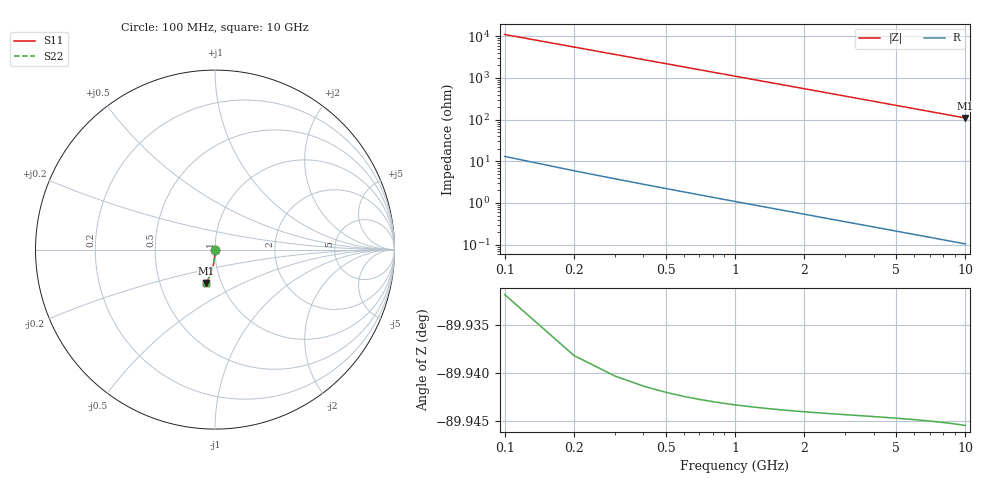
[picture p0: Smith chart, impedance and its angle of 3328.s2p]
# Hz S RI R 50.00
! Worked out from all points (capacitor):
!   100 points, 100 MHz to 10 GHz, reference 50 ohm
!   read as one part in shunt: C = 144 fF near 100 MHz
!   lowest |Z| = 110 ohm at 10 GHz (marker M1)
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1e8  9.01e-05 -0.00196  0.9999 -0.00257  0.9999 -0.00257  9.01e-05 -0.00196
2e8  7.35e-05 -0.00391  0.9999 -0.00514  0.9999 -0.00514  7.35e-05 -0.00391
3e8  4.67e-05 -0.00587  0.9998 -0.00771  0.9998 -0.00771  4.67e-05 -0.00587
4e8  9.67e-06 -0.00783  0.9998 -0.0103  0.9998 -0.0103  9.67e-06 -0.00783
5e8  -3.74e-05 -0.00978  0.9998 -0.0129  0.9998 -0.0129  -3.74e-05 -0.00978
6e8  -9.46e-05 -0.0117  0.9997 -0.0154  0.9997 -0.0154  -9.46e-05 -0.0117
7e8  -0.000162 -0.0137  0.9996 -0.018  0.9996 -0.018  -0.000162 -0.0137
8e8  -0.000239 -0.0156  0.9995 -0.0206  0.9995 -0.0206  -0.000239 -0.0156
9e8  -0.000327 -0.0176  0.9995 -0.0231  0.9995 -0.0231  -0.000327 -0.0176
1.1e9  -0.000532 -0.0215  0.9992 -0.0283  0.9992 -0.0283  -0.000532 -0.0215
1.4e9  -0.000915 -0.0274  0.9988 -0.036  0.9988 -0.036  -0.000915 -0.0274
1.8e9  -0.00157 -0.0352  0.9982 -0.0462  0.9982 -0.0462  -0.00157 -0.0352
2.1e9  -0.00216 -0.041  0.9975 -0.0539  0.9975 -0.0539  -0.00216 -0.041
2.5e9  -0.0031 -0.0488  0.9966 -0.0642  0.9966 -0.0642  -0.0031 -0.0488
2.9e9  -0.00419 -0.0566  0.9954 -0.0744  0.9954 -0.0744  -0.00419 -0.0566
3.4e9  -0.00578 -0.0663  0.9938 -0.0872  0.9938 -0.0872  -0.00578 -0.0663
4.2e9  -0.00884 -0.0816  0.9906 -0.1075  0.9906 -0.1075  -0.00884 -0.0816
5.1e9  -0.013 -0.0988  0.9862 -0.1302  0.9862 -0.1302  -0.013 -0.0988
5.9e9  -0.0174 -0.1138  0.9817 -0.1502  0.9817 -0.1502  -0.0174 -0.1138
6.7e9  -0.0224 -0.1286  0.9765 -0.17  0.9765 -0.17  -0.0224 -0.1286
8.4e9  -0.035 -0.1592  0.9634 -0.2112  0.9634 -0.2112  -0.035 -0.1592
1e10  -0.0491 -0.1867  0.9488 -0.2488  0.9488 -0.2488  -0.0491 -0.1867
